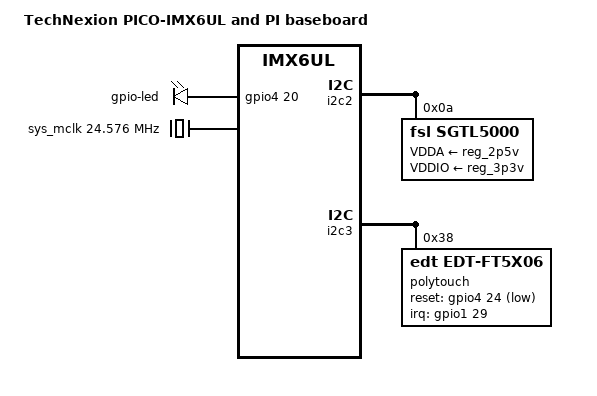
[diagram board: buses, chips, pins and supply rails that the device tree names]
// SPDX-License-Identifier: (GPL-2.0 OR MIT)
//
// Copyright 2015 Technexion Ltd.
//
// Author: Wig Cheng  <wig.cheng@technexion.com>
//	   Richard Hu <richard.hu@technexion.com>
//	   Tapani Utriainen <tapani@technexion.com>
/dts-v1/;

#include "imx6ul-pico.dtsi"
/ {
	model = "TechNexion PICO-IMX6UL and PI baseboard";
	compatible = "technexion,imx6ul-pico-pi", "fsl,imx6ul";

	leds {
		compatible = "gpio-leds";
		pinctrl-names = "default";
		pinctrl-0 = <&pinctrl_gpio_leds>;

		led {
			label = "gpio-led";
			gpios = <&gpio4 20 GPIO_ACTIVE_HIGH>;
		};
	};

	sound {
		compatible = "fsl,imx-audio-sgtl5000";
		model = "imx6ul-sgtl5000";
		audio-cpu = <&sai1>;
		audio-codec = <&sgtl5000>;
		audio-routing =
			"LINE_IN", "Line In Jack",
			"MIC_IN", "Mic Jack",
			"Mic Jack", "Mic Bias",
			"Headphone Jack", "HP_OUT";
	};

	sys_mclk: clock-sys-mclk {
		compatible = "fixed-clock";
		#clock-cells = <0>;
		clock-frequency = <24576000>;
	};
};

&i2c2 {
	clock_frequency = <100000>;
	pinctrl-names = "default";
	pinctrl-0 = <&pinctrl_i2c2>;
	status = "okay";

	sgtl5000: codec@a {
		reg = <0x0a>;
		compatible = "fsl,sgtl5000";
		clocks = <&sys_mclk>;
		VDDA-supply = <&reg_2p5v>;
		VDDIO-supply = <&reg_3p3v>;
	};
};

&i2c3 {
	clock_frequency = <100000>;
	pinctrl-names = "default";
	pinctrl-0 = <&pinctrl_i2c3>;
	status = "okay";

	polytouch: touchscreen@38 {
		compatible = "edt,edt-ft5x06";
		reg = <0x38>;
		interrupt-parent = <&gpio1>;
		interrupts = <29 IRQ_TYPE_EDGE_FALLING>;
		reset-gpios = <&gpio4 24 GPIO_ACTIVE_LOW>;
		touchscreen-size-x = <800>;
		touchscreen-size-y = <480>;
	};
};

&iomuxc {
	pinctrl-names = "default";
	pinctrl-0 = <&pinctrl_hog>;

	pinctrl_hog: hoggrp {
		fsl,pins = <
			MX6UL_PAD_CSI_VSYNC__GPIO4_IO19		0x10b0
			MX6UL_PAD_CSI_DATA00__GPIO4_IO21	0x10b0
			MX6UL_PAD_CSI_DATA01__GPIO4_IO22	0x10b0
			MX6UL_PAD_CSI_DATA02__GPIO4_IO23	0x10b0
			MX6UL_PAD_UART1_CTS_B__GPIO1_IO18	0x10b0
			MX6UL_PAD_SNVS_TAMPER2__GPIO5_IO02	0x10b0
		>;
	};

	pinctrl_gpio_leds: gpioledsgrp {
		fsl,pins = <
			MX6UL_PAD_CSI_HSYNC__GPIO4_IO20		0x10b0
		>;
	};
};
